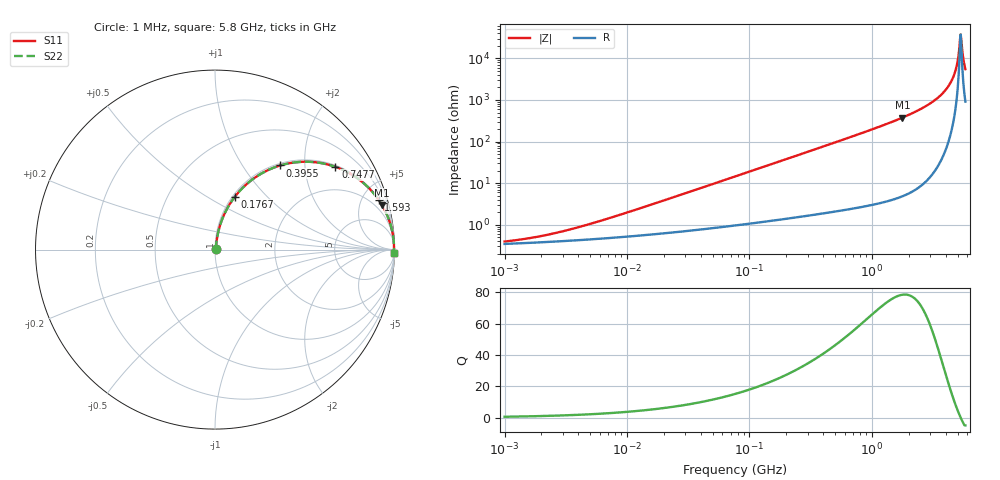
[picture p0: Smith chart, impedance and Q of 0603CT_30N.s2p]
# MHz  S  MA  R  50
!Freq  MagS11  AngS11  MagS21  AngS21  MagS12  AngS12  MagS22  AngS22
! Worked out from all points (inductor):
!   872 points, 1 MHz to 5.8 GHz, reference 50 ohm
!   read as one part in series: L = 30 nH near 7.689 MHz
!   highest Q = 78.5 at 1.777 GHz (marker M1), where L = 33.8 nH
!   self-resonance near 5.257 GHz
!   S11 on the Smith chart (normalised r, x): 1 MHz: 1.01, +0.00; 176.7 MHz: 1.03, +0.67; 395.5 MHz: 1.04, +1.50; 747.7 MHz: 1.05, +2.88; 1.593 GHz: 1.09, +6.60; 5.8 GHz: open
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1  0.003899 28.7  0.9966 -0.1  0.9966 -0.1  0.003899 28.7
2.026831  0.005342 45.2  0.9962 -0.2  0.9962 -0.2  0.005342 45.2
4.274847  0.00908 61.6  0.9957 -0.5  0.9957 -0.5  0.00908 61.6
18.09338  0.0344 78.1  0.9935 -1.9  0.9935 -1.9  0.0344 78.1
76.58064  0.1419 78.1  0.9806 -8.1  0.9806 -8.1  0.1419 78.1
176.6503  0.3128 69.5  0.9376 -18.2  0.9376 -18.2  0.3128 69.5
324.1292  0.5166 57.3  0.8421 -31.1  0.8421 -31.1  0.5166 57.3
395.4992  0.593 52.2  0.7907 -36.4  0.7907 -36.4  0.593 52.2
747.6762  0.8144 34.5  0.5663 -54.5  0.5663 -54.5  0.8144 34.5
1371.884  0.9366 19.8  0.338 -69.5  0.338 -69.5  0.9366 19.8
1592.715  0.9536 16.8  0.289 -72.5  0.289 -72.5  0.9536 16.8
1776.941  0.9636 14.8  0.2554 -74.5  0.2554 -74.5  0.9636 14.8
2922.414  0.9901 7.2  0.1252 -81.9  0.1252 -81.9  0.9901 7.2
3978.363  0.9963 3.3  0.05819 -84.6  0.05819 -84.6  0.9963 3.3
4394.587  0.9971 2.2  0.03786 -84.5  0.03786 -84.5  0.9971 2.2
4711.592  0.9974 1.4  0.02386 -83.1  0.02386 -83.1  0.9974 1.4
4902.902  0.9975 0.9  0.01596 -80.4  0.01596 -80.4  0.9975 0.9
5152.999  0.9974 0.3  0.006371 -66.1  0.006371 -66.1  0.9974 0.3
5256.575  0.9974 0.1  0.003208 -35.6  0.003208 -35.6  0.9974 0.1
5415.854  0.9973 -0.2  0.004892 56.2  0.004892 56.2  0.9973 -0.2
5635.759  0.9971 -0.7  0.01235 76.0  0.01235 76.0  0.9971 -0.7
5800  0.9969 -1.0  0.018 79.5  0.018 79.5  0.9969 -1.0
